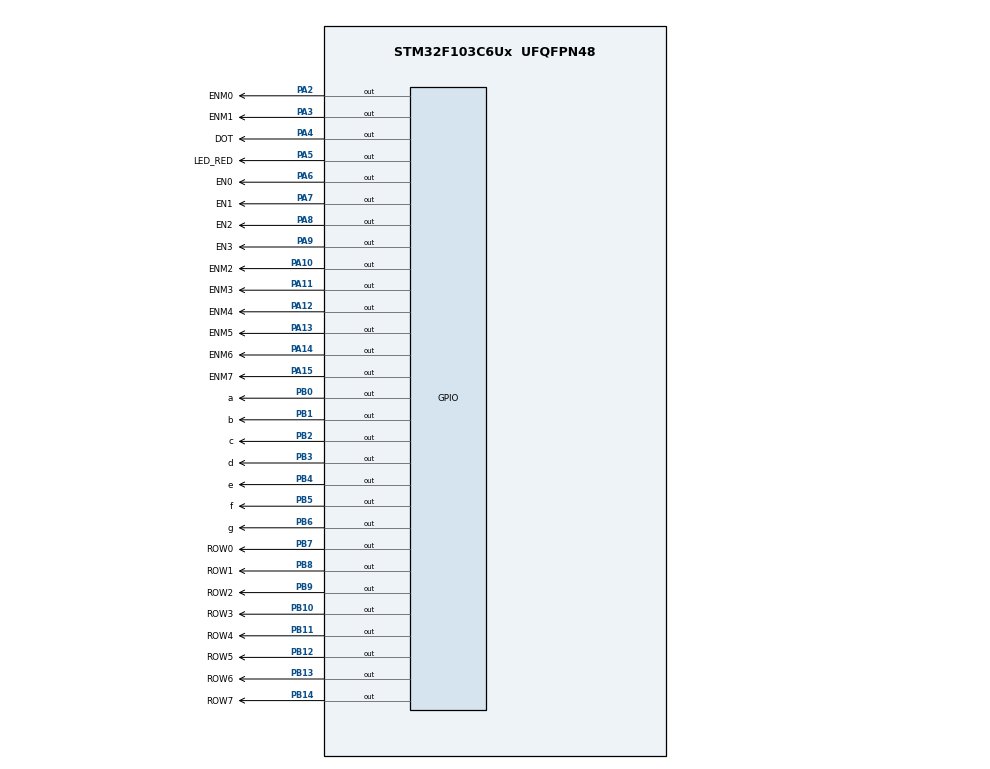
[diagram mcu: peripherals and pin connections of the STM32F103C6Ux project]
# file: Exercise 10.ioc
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Mcu.Family=STM32F1
Mcu.Name=STM32F103C6Ux
Mcu.Package=UFQFPN48
NVIC.PriorityGroup=NVIC_PRIORITYGROUP_4
NVIC.TIM2_IRQn=true\:0\:0\:false\:false\:true\:true\:true
PA10.GPIO_Label=ENM2
PA10.Signal=GPIO_Output
PA11.GPIO_Label=ENM3
PA11.Signal=GPIO_Output
PA12.GPIO_Label=ENM4
PA12.Signal=GPIO_Output
PA13.GPIO_Label=ENM5
PA13.Signal=GPIO_Output
PA14.GPIO_Label=ENM6
PA14.Signal=GPIO_Output
PA15.GPIO_Label=ENM7
PA15.Signal=GPIO_Output
PA2.GPIO_Label=ENM0
PA2.Signal=GPIO_Output
PA3.GPIO_Label=ENM1
PA3.Signal=GPIO_Output
PA4.GPIO_Label=DOT
PA4.Signal=GPIO_Output
PA5.GPIO_Label=LED_RED
PA5.Signal=GPIO_Output
PA6.GPIO_Label=EN0
PA6.Signal=GPIO_Output
PA7.GPIO_Label=EN1
PA7.Signal=GPIO_Output
PA8.GPIO_Label=EN2
PA8.Signal=GPIO_Output
PA9.GPIO_Label=EN3
PA9.Signal=GPIO_Output
PB0.GPIO_Label=a
PB0.Signal=GPIO_Output
PB1.GPIO_Label=b
PB1.Signal=GPIO_Output
PB10.GPIO_Label=ROW3
PB10.Signal=GPIO_Output
PB11.GPIO_Label=ROW4
PB11.Signal=GPIO_Output
PB12.GPIO_Label=ROW5
PB12.Signal=GPIO_Output
PB13.GPIO_Label=ROW6
PB13.Signal=GPIO_Output
PB14.GPIO_Label=ROW7
PB14.Signal=GPIO_Output
PB2.GPIO_Label=c
PB2.Signal=GPIO_Output
PB3.GPIO_Label=d
PB3.Signal=GPIO_Output
PB4.GPIO_Label=e
PB4.Signal=GPIO_Output
PB5.GPIO_Label=f
PB5.Signal=GPIO_Output
PB6.GPIO_Label=g
PB6.Signal=GPIO_Output
PB7.GPIO_Label=ROW0
PB7.Signal=GPIO_Output
PB8.GPIO_Label=ROW1
PB8.Signal=GPIO_Output
PB9.GPIO_Label=ROW2
PB9.Signal=GPIO_Output
ProjectManager.HeapSize=0x200
ProjectManager.StackSize=0x400
ProjectManager.TargetToolchain=STM32CubeIDE
RCC.APB1Freq_Value=8000000
RCC.APB2Freq_Value=8000000
TIM2.Period=9
TIM2.Prescaler=7999
VP_SYS_VS_ND.Mode=No_Debug
VP_TIM2_VS_ClockSourceINT.Mode=Internal
board=custom

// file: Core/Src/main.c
/* USER CODE BEGIN Header */
/**
  ******************************************************************************
  * @file           : main.c
  * @brief          : Main program body
  ******************************************************************************
  * @attention
  *
  * <h2><center>&copy; Copyright (c) 2024 STMicroelectronics.
  * All rights reserved.</center></h2>
  *
  * This software component is licensed by ST under BSD 3-Clause license,
  * the "License"; You may not use this file except in compliance with the
  * License. You may obtain a copy of the License at:
  *                        opensource.org/licenses/BSD-3-Clause
  *
  ******************************************************************************
  */
/* USER CODE END Header */
#include "main.h"
#include "software_timer.h"

TIM_HandleTypeDef htim2;

void SystemClock_Config(void);
static void MX_GPIO_Init(void);
static void MX_TIM2_Init(void);
void display7SEG(int num);
/* USER CODE BEGIN PFP */

const int MAX_LED = 4;
const int MAX_LED_MATRIX = 8;
int index_led = 0;
int index_led_matrix = 0;
int matrix_shift_flag = 0;
uint8_t shift = 0;
uint8_t matrix_buffer[8] = {0xE7,0xDB,0xBD,0x7E,0x00,0x00,0x7E,0x7E};

void update7SEG (int index, int led_buffer[])
{
	switch ( index )
	{
	case 0:
		HAL_GPIO_WritePin ( EN0_GPIO_Port , EN0_Pin ,GPIO_PIN_RESET );
		HAL_GPIO_WritePin ( EN1_GPIO_Port , EN1_Pin ,GPIO_PIN_SET );
		HAL_GPIO_WritePin ( EN2_GPIO_Port , EN2_Pin ,GPIO_PIN_SET );
		HAL_GPIO_WritePin ( EN3_GPIO_Port , EN3_Pin ,GPIO_PIN_SET );
		display7SEG ( led_buffer [0]) ;
		break;
	case 1:
		HAL_GPIO_WritePin ( EN0_GPIO_Port , EN0_Pin ,GPIO_PIN_SET );
		HAL_GPIO_WritePin ( EN1_GPIO_Port , EN1_Pin ,GPIO_PIN_RESET );
		HAL_GPIO_WritePin ( EN2_GPIO_Port , EN2_Pin ,GPIO_PIN_SET );
		HAL_GPIO_WritePin ( EN3_GPIO_Port , EN3_Pin ,GPIO_PIN_SET );
		display7SEG ( led_buffer [1]) ;
		break;
	case 2:
		HAL_GPIO_WritePin ( EN0_GPIO_Port , EN0_Pin ,GPIO_PIN_SET );
		HAL_GPIO_WritePin ( EN1_GPIO_Port , EN1_Pin ,GPIO_PIN_SET );
		HAL_GPIO_WritePin ( EN2_GPIO_Port , EN2_Pin ,GPIO_PIN_RESET );
		HAL_GPIO_WritePin ( EN3_GPIO_Port , EN3_Pin ,GPIO_PIN_SET );
		display7SEG ( led_buffer [2]) ;
		break;
	case 3:
		HAL_GPIO_WritePin ( EN0_GPIO_Port , EN0_Pin ,GPIO_PIN_SET );
		HAL_GPIO_WritePin ( EN1_GPIO_Port , EN1_Pin ,GPIO_PIN_SET );
		HAL_GPIO_WritePin ( EN2_GPIO_Port , EN2_Pin ,GPIO_PIN_SET );
		HAL_GPIO_WritePin ( EN3_GPIO_Port , EN3_Pin ,GPIO_PIN_RESET );
		display7SEG ( led_buffer [3]) ;
		break;
	default:
		break;
	}
}

//int led_buffer [4] = {0, 0, 0, 0};

int hour = 15, minute = 25, second = 50;
void updateClockBuffer ( int hour, int minute, int led_buffer[])
{
	if ( hour >= 0 && hour <= 9)
		{
			led_buffer [1] = hour;
			led_buffer [0] = 0;
		}
		else
		{
			led_buffer [1] = hour % 10;
			led_buffer [0] = hour / 10;
		}
	if (minute >= 0 && minute <= 9)
	{
		led_buffer [3] = minute;
		led_buffer [2] = 0;
	}
	else
	{
		led_buffer [3] = minute % 10;
		led_buffer [2] = minute / 10;
	}
}
void setCol(uint8_t val)
{
	HAL_GPIO_WritePin(ENM0_GPIO_Port, ENM0_Pin, ((val>>7)&0x01));
	HAL_GPIO_WritePin(ENM1_GPIO_Port, ENM1_Pin, ((val>>6)&0x01));
	HAL_GPIO_WritePin(ENM2_GPIO_Port, ENM2_Pin, ((val>>5)&0x01));
	HAL_GPIO_WritePin(ENM3_GPIO_Port, ENM3_Pin, ((val>>4)&0x01));
	HAL_GPIO_WritePin(ENM4_GPIO_Port, ENM4_Pin, ((val>>3)&0x01));
	HAL_GPIO_WritePin(ENM5_GPIO_Port, ENM5_Pin, ((val>>2)&0x01));
	HAL_GPIO_WritePin(ENM6_GPIO_Port, ENM6_Pin, ((val>>1)&0x01));
	HAL_GPIO_WritePin(ENM7_GPIO_Port, ENM7_Pin, ((val>>0)&0x01));
}

void setMatrix(void)
{
	HAL_GPIO_WritePin(ROW0_GPIO_Port, ROW0_Pin, SET);
	HAL_GPIO_WritePin(ROW1_GPIO_Port, ROW1_Pin, SET);
	HAL_GPIO_WritePin(ROW2_GPIO_Port, ROW2_Pin, SET);
	HAL_GPIO_WritePin(ROW3_GPIO_Port, ROW3_Pin, SET);
	HAL_GPIO_WritePin(ROW4_GPIO_Port, ROW4_Pin, SET);
	HAL_GPIO_WritePin(ROW5_GPIO_Port, ROW5_Pin, SET);
	HAL_GPIO_WritePin(ROW6_GPIO_Port, ROW6_Pin, SET);
	HAL_GPIO_WritePin(ROW7_GPIO_Port, ROW7_Pin, SET);
}
void updateLEDMatrix(uint8_t index, uint8_t shift)
{
	setMatrix();
	uint8_t matrix_buffer_shift = (matrix_buffer[index] << shift) | (matrix_buffer[index] >> (8-shift));
	switch (index)
	{
	case 0:
		setCol(matrix_buffer_shift);
		HAL_GPIO_WritePin(ROW0_GPIO_Port, ROW0_Pin, RESET);
		break;
	case 1:
		setCol(matrix_buffer_shift);
		HAL_GPIO_WritePin(ROW1_GPIO_Port, ROW1_Pin, RESET);
		break;
	case 2:
		setCol(matrix_buffer_shift);
		HAL_GPIO_WritePin(ROW2_GPIO_Port, ROW2_Pin, RESET);
		break;
	case 3:
		setCol(matrix_buffer_shift);
		HAL_GPIO_WritePin(ROW3_GPIO_Port, ROW3_Pin, RESET);
		break;
	case 4:
		setCol(matrix_buffer_shift);
		HAL_GPIO_WritePin(ROW4_GPIO_Port, ROW4_Pin, RESET);
		break;
	case 5:
		setCol(matrix_buffer_shift);
		HAL_GPIO_WritePin(ROW5_GPIO_Port, ROW5_Pin, RESET);
		break;
	case 6:
		setCol(matrix_buffer_shift);
		HAL_GPIO_WritePin(ROW6_GPIO_Port, ROW6_Pin, RESET);
		break;
	case 7:
		setCol(matrix_buffer_shift);
		HAL_GPIO_WritePin(ROW7_GPIO_Port, ROW7_Pin, RESET);
		break;
	default:
		break;
	}
}

/* USER CODE END PFP */

int main(void)
{

  /* MCU Configuration--------------------------------------------------------*/

  /* Reset of all peripherals, Initializes the Flash interface and the Systick. */
  HAL_Init();

  /* Configure the system clock */
  SystemClock_Config();

  /* Initialize all configured peripherals */
  MX_GPIO_Init();
  MX_TIM2_Init();
  HAL_TIM_Base_Start_IT (& htim2 );
  /* USER CODE END 2 */

  /* Infinite loop */
  /* USER CODE BEGIN WHILE */
  int led_buffer [4] = {1, 2, 3, 4};
  setTimer0 (500) ;
  setTimer1 (250) ;
  setTimer2 (200) ;
  setTimer3 (1000) ;
  while (1)
  {
	  // LED BLINK AND DOT
	  if(timer0_flag == 1)
	  {
		setTimer0(500);
		HAL_GPIO_TogglePin(LED_RED_GPIO_Port, LED_RED_Pin);
	  }

	  // UPDATE TIME
	  if(timer1_flag == 1)
	  {
		  setTimer1(250);
		  updateClockBuffer(hour,minute,led_buffer);
		  second++;
		  if (second >= 60)
		  {
			  second = 0;
			  minute++;
		  }
		  if(minute >= 60)
		  {
			  minute = 0;
			  hour++;
		  }
		  if(hour >= 24)
		  {
			  hour = 0;
		  }
		  HAL_GPIO_TogglePin(DOT_GPIO_Port, DOT_Pin);
	  }
	  // UPDATE LED7SEG & LED MATRIX
	  if(timer2_flag == 1)
	  {
		setTimer2(200);
		update7SEG(index_led, led_buffer);
		index_led++;
		if(index_led >= 4)
		 index_led = 0;
	  }

	  if(timer3_flag == 1)
	  {
		setTimer3(1000);
		updateLEDMatrix(index_led_matrix, shift);
		index_led_matrix++;
		if(index_led_matrix >= 8)
		{
		index_led_matrix = 0;
		shift ++;
		if(shift >= 8) shift = 0;
		}
	  }

    /* USER CODE END WHILE */
  }
}

void display7SEG(int num)
{
    if (num == 0)
    {
        HAL_GPIO_WritePin(a_GPIO_Port, a_Pin, RESET);
        HAL_GPIO_WritePin(b_GPIO_Port, b_Pin, RESET);
        HAL_GPIO_WritePin(c_GPIO_Port, c_Pin, RESET);
        HAL_GPIO_WritePin(d_GPIO_Port, d_Pin, RESET);
        HAL_GPIO_WritePin(e_GPIO_Port, e_Pin, RESET);
        HAL_GPIO_WritePin(f_GPIO_Port, f_Pin, RESET);
        HAL_GPIO_WritePin(g_GPIO_Port, g_Pin, SET);
    }
    else if (num == 1)
    {
        HAL_GPIO_WritePin(a_GPIO_Port, a_Pin, SET);
        HAL_GPIO_WritePin(b_GPIO_Port, b_Pin, RESET);
        HAL_GPIO_WritePin(c_GPIO_Port, c_Pin, RESET);
        HAL_GPIO_WritePin(d_GPIO_Port, d_Pin, SET);
        HAL_GPIO_WritePin(e_GPIO_Port, e_Pin, SET);
        HAL_GPIO_WritePin(f_GPIO_Port, f_Pin, SET);
        HAL_GPIO_WritePin(g_GPIO_Port, g_Pin, SET);
    }

    else if (num == 2)
    {
        HAL_GPIO_WritePin(a_GPIO_Port, a_Pin, RESET);
        HAL_GPIO_WritePin(b_GPIO_Port, b_Pin, RESET);
        HAL_GPIO_WritePin(c_GPIO_Port, c_Pin, SET);
        HAL_GPIO_WritePin(d_GPIO_Port, d_Pin, RESET);
        HAL_GPIO_WritePin(e_GPIO_Port, e_Pin, RESET);
        HAL_GPIO_WritePin(f_GPIO_Port, f_Pin, SET);
        HAL_GPIO_WritePin(g_GPIO_Port, g_Pin, RESET);
    }

    else if (num == 3)
    {
        HAL_GPIO_WritePin(a_GPIO_Port, a_Pin, RESET);
        HAL_GPIO_WritePin(b_GPIO_Port, b_Pin, RESET);
        HAL_GPIO_WritePin(c_GPIO_Port, c_Pin, RESET);
        HAL_GPIO_WritePin(d_GPIO_Port, d_Pin, RESET);
        HAL_GPIO_WritePin(e_GPIO_Port, e_Pin, SET);
        HAL_GPIO_WritePin(f_GPIO_Port, f_Pin, SET);
        HAL_GPIO_WritePin(g_GPIO_Port, g_Pin, RESET);
    }

    else if (num == 4)
    {
        HAL_GPIO_WritePin(a_GPIO_Port, a_Pin, SET);
        HAL_GPIO_WritePin(b_GPIO_Port, b_Pin, RESET);
        HAL_GPIO_WritePin(c_GPIO_Port, c_Pin, RESET);
        HAL_GPIO_WritePin(d_GPIO_Port, d_Pin, SET);
        HAL_GPIO_WritePin(e_GPIO_Port, e_Pin, SET);
        HAL_GPIO_WritePin(f_GPIO_Port, f_Pin, RESET);
        HAL_GPIO_WritePin(g_GPIO_Port, g_Pin, RESET);
    }

    else if (num == 5)
    {
        HAL_GPIO_WritePin(a_GPIO_Port, a_Pin, RESET);
        HAL_GPIO_WritePin(b_GPIO_Port, b_Pin, SET);
        HAL_GPIO_WritePin(c_GPIO_Port, c_Pin, RESET);
        HAL_GPIO_WritePin(d_GPIO_Port, d_Pin, RESET);
        HAL_GPIO_WritePin(e_GPIO_Port, e_Pin, SET);
        HAL_GPIO_WritePin(f_GPIO_Port, f_Pin, RESET);
        HAL_GPIO_WritePin(g_GPIO_Port, g_Pin, RESET);
    }

    else if (num == 6)
    {
        HAL_GPIO_WritePin(a_GPIO_Port, a_Pin, RESET);
        HAL_GPIO_WritePin(b_GPIO_Port, b_Pin, SET);
        HAL_GPIO_WritePin(c_GPIO_Port, c_Pin, RESET);
        HAL_GPIO_WritePin(d_GPIO_Port, d_Pin, RESET);
        HAL_GPIO_WritePin(e_GPIO_Port, e_Pin, RESET);
        HAL_GPIO_WritePin(f_GPIO_Port, f_Pin, RESET);
        HAL_GPIO_WritePin(g_GPIO_Port, g_Pin, RESET);
    }

    else if (num == 7)
    {
        HAL_GPIO_WritePin(a_GPIO_Port, a_Pin, RESET);
        HAL_GPIO_WritePin(b_GPIO_Port, b_Pin, RESET);
        HAL_GPIO_WritePin(c_GPIO_Port, c_Pin, RESET);
        HAL_GPIO_WritePin(d_GPIO_Port, d_Pin, SET);
        HAL_GPIO_WritePin(e_GPIO_Port, e_Pin, SET);
        HAL_GPIO_WritePin(f_GPIO_Port, f_Pin, SET);
        HAL_GPIO_WritePin(g_GPIO_Port, g_Pin, SET);
    }

    else if (num == 8)
    {
        HAL_GPIO_WritePin(a_GPIO_Port, a_Pin, RESET);
        HAL_GPIO_WritePin(b_GPIO_Port, b_Pin, RESET);
        HAL_GPIO_WritePin(c_GPIO_Port, c_Pin, RESET);
        HAL_GPIO_WritePin(d_GPIO_Port, d_Pin, RESET);
        HAL_GPIO_WritePin(e_GPIO_Port, e_Pin, RESET);
        HAL_GPIO_WritePin(f_GPIO_Port, f_Pin, RESET);
        HAL_GPIO_WritePin(g_GPIO_Port, g_Pin, RESET);
    }

    else if (num == 9)
    {
        HAL_GPIO_WritePin(a_GPIO_Port, a_Pin, RESET);
        HAL_GPIO_WritePin(b_GPIO_Port, b_Pin, RESET);
        HAL_GPIO_WritePin(c_GPIO_Port, c_Pin, RESET);
        HAL_GPIO_WritePin(d_GPIO_Port, d_Pin, RESET);
        HAL_GPIO_WritePin(e_GPIO_Port, e_Pin, SET);
        HAL_GPIO_WritePin(f_GPIO_Port, f_Pin, RESET);
        HAL_GPIO_WritePin(g_GPIO_Port, g_Pin, RESET);
    }

}

void SystemClock_Config(void)
{
  RCC_OscInitTypeDef RCC_OscInitStruct = {0};
  RCC_ClkInitTypeDef RCC_ClkInitStruct = {0};

  /** Initializes the RCC Oscillators according to the specified parameters
  * in the RCC_OscInitTypeDef structure.
  */
  RCC_OscInitStruct.OscillatorType = RCC_OSCILLATORTYPE_HSI;
  RCC_OscInitStruct.HSIState = RCC_HSI_ON;
  RCC_OscInitStruct.HSICalibrationValue = RCC_HSICALIBRATION_DEFAULT;
  RCC_OscInitStruct.PLL.PLLState = RCC_PLL_NONE;
  if (HAL_RCC_OscConfig(&RCC_OscInitStruct) != HAL_OK)
  {
    Error_Handler();
  }
  /** Initializes the CPU, AHB and APB buses clocks
  */
  RCC_ClkInitStruct.ClockType = RCC_CLOCKTYPE_HCLK|RCC_CLOCKTYPE_SYSCLK
                              |RCC_CLOCKTYPE_PCLK1|RCC_CLOCKTYPE_PCLK2;
  RCC_ClkInitStruct.SYSCLKSource = RCC_SYSCLKSOURCE_HSI;
  RCC_ClkInitStruct.AHBCLKDivider = RCC_SYSCLK_DIV1;
  RCC_ClkInitStruct.APB1CLKDivider = RCC_HCLK_DIV1;
  RCC_ClkInitStruct.APB2CLKDivider = RCC_HCLK_DIV1;

  if (HAL_RCC_ClockConfig(&RCC_ClkInitStruct, FLASH_LATENCY_0) != HAL_OK)
  {
    Error_Handler();
  }
}

static void MX_TIM2_Init(void)
{

  TIM_ClockConfigTypeDef sClockSourceConfig = {0};
  TIM_MasterConfigTypeDef sMasterConfig = {0};

  htim2.Instance = TIM2;
  htim2.Init.Prescaler = 7999;
  htim2.Init.CounterMode = TIM_COUNTERMODE_UP;
  htim2.Init.Period = 9;
  htim2.Init.ClockDivision = TIM_CLOCKDIVISION_DIV1;
  htim2.Init.AutoReloadPreload = TIM_AUTORELOAD_PRELOAD_DISABLE;
  if (HAL_TIM_Base_Init(&htim2) != HAL_OK)
  {
    Error_Handler();
  }
  sClockSourceConfig.ClockSource = TIM_CLOCKSOURCE_INTERNAL;
  if (HAL_TIM_ConfigClockSource(&htim2, &sClockSourceConfig) != HAL_OK)
  {
    Error_Handler();
  }
  sMasterConfig.MasterOutputTrigger = TIM_TRGO_RESET;
  sMasterConfig.MasterSlaveMode = TIM_MASTERSLAVEMODE_DISABLE;
  if (HAL_TIMEx_MasterConfigSynchronization(&htim2, &sMasterConfig) != HAL_OK)
  {
    Error_Handler();
  }

}

static void MX_GPIO_Init(void)
{
  GPIO_InitTypeDef GPIO_InitStruct = {0};

  /* GPIO Ports Clock Enable */
  __HAL_RCC_GPIOA_CLK_ENABLE();
  __HAL_RCC_GPIOB_CLK_ENABLE();

  /*Configure GPIO pin Output Level */
  HAL_GPIO_WritePin(GPIOA, ENM0_Pin|ENM1_Pin|DOT_Pin|LED_RED_Pin
                          |EN0_Pin|EN1_Pin|EN2_Pin|EN3_Pin
                          |ENM2_Pin|ENM3_Pin|ENM4_Pin|ENM5_Pin
                          |ENM6_Pin|ENM7_Pin, GPIO_PIN_RESET);

  /*Configure GPIO pin Output Level */
  HAL_GPIO_WritePin(GPIOB, a_Pin|b_Pin|c_Pin|ROW3_Pin
                          |ROW4_Pin|ROW5_Pin|ROW6_Pin|ROW7_Pin
                          |d_Pin|e_Pin|f_Pin|g_Pin
                          |ROW0_Pin|ROW1_Pin|ROW2_Pin, GPIO_PIN_RESET);

  /*Configure GPIO pins : ENM0_Pin ENM1_Pin DOT_Pin LED_RED_Pin
                           EN0_Pin EN1_Pin EN2_Pin EN3_Pin
                           ENM2_Pin ENM3_Pin ENM4_Pin ENM5_Pin
                           ENM6_Pin ENM7_Pin */
  GPIO_InitStruct.Pin = ENM0_Pin|ENM1_Pin|DOT_Pin|LED_RED_Pin
                          |EN0_Pin|EN1_Pin|EN2_Pin|EN3_Pin
                          |ENM2_Pin|ENM3_Pin|ENM4_Pin|ENM5_Pin
                          |ENM6_Pin|ENM7_Pin;
  GPIO_InitStruct.Mode = GPIO_MODE_OUTPUT_PP;
  GPIO_InitStruct.Pull = GPIO_NOPULL;
  GPIO_InitStruct.Speed = GPIO_SPEED_FREQ_LOW;
  HAL_GPIO_Init(GPIOA, &GPIO_InitStruct);

  /*Configure GPIO pins : a_Pin b_Pin c_Pin ROW3_Pin
                           ROW4_Pin ROW5_Pin ROW6_Pin ROW7_Pin
                           d_Pin e_Pin f_Pin g_Pin
                           ROW0_Pin ROW1_Pin ROW2_Pin */
  GPIO_InitStruct.Pin = a_Pin|b_Pin|c_Pin|ROW3_Pin
                          |ROW4_Pin|ROW5_Pin|ROW6_Pin|ROW7_Pin
                          |d_Pin|e_Pin|f_Pin|g_Pin
                          |ROW0_Pin|ROW1_Pin|ROW2_Pin;
  GPIO_InitStruct.Mode = GPIO_MODE_OUTPUT_PP;
  GPIO_InitStruct.Pull = GPIO_NOPULL;
  GPIO_InitStruct.Speed = GPIO_SPEED_FREQ_LOW;
  HAL_GPIO_Init(GPIOB, &GPIO_InitStruct);

}

/* USER CODE BEGIN 4 */
void HAL_TIM_PeriodElapsedCallback ( TIM_HandleTypeDef * htim )
{
	HAL_GPIO_WritePin(LED_RED_GPIO_Port, LED_RED_Pin,RESET);
	timerRun0();
	timerRun1();
	timerRun2();
	timerRun3();
}
/* USER CODE END 4 */

void Error_Handler(void)
{
  __disable_irq();
  while (1)
  {
  }
}

/************************ (C) COPYRIGHT STMicroelectronics *****END OF FILE****/
